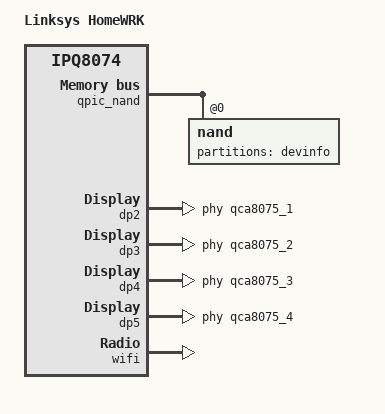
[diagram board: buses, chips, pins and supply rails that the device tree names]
// SPDX-License-Identifier: GPL-2.0-or-later OR MIT

/dts-v1/;

#include "ipq8174-mx4x00.dtsi"

/ {
	model = "Linksys HomeWRK";
	compatible = "linksys,homewrk", "qcom,ipq8074";

	chosen {
		bootargs-append = " root=/dev/ubiblock0_1";
	};
};

&qpic_nand {
	status = "okay";

	nand@0 {
		reg = <0>;
		/*
		 * Some devices use Micron NAND with with 8 bit ECC
		 * other AMD/Spansion NAND with 4 bit ECC
		 *nand-ecc-strength = <4>;
		 *nand-ecc-step-size = <512>;
		 */
		nand-bus-width = <8>;

		partitions {
			compatible = "qcom,smem-part";

			partition-devinfo {
				label = "devinfo";
				read-only;

				nvmem-layout {
					compatible = "ascii-eq-delim-env";

					mac_address: mac_address {
						compatible = "mac-base";
						#nvmem-cell-cells = <1>;
					};
				};
			};
		};
	};
};

&dp2 {
	status = "okay";
	phy-handle = <&qca8075_1>;
	label = "wan";
	nvmem-cells = <&mac_address 0>;
	nvmem-cell-names = "mac-address";
};

&dp3 {
	status = "okay";
	phy-handle = <&qca8075_2>;
	label = "lan3";
	nvmem-cells = <&mac_address 1>;
	nvmem-cell-names = "mac-address";
};

&dp4 {
	status = "okay";
	phy-handle = <&qca8075_3>;
	label = "lan2";
	nvmem-cells = <&mac_address 1>;
	nvmem-cell-names = "mac-address";
};

&dp5 {
	status = "okay";
	phy-handle = <&qca8075_4>;
	label = "lan1";
	nvmem-cells = <&mac_address 1>;
	nvmem-cell-names = "mac-address";
};

&wifi {
	status = "okay";

	qcom,ath11k-calibration-variant = "Linksys-HomeWRK";
};
